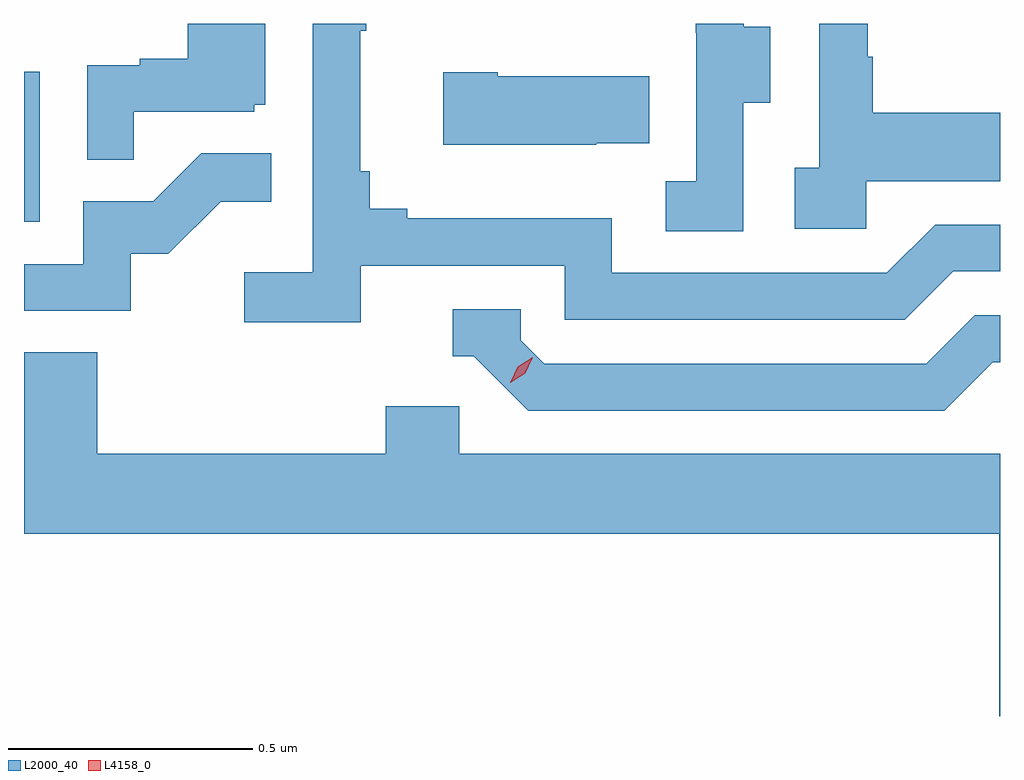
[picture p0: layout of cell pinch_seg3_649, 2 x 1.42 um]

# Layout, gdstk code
import gdstk
lib = gdstk.Library(unit=1e-6, precision=1e-09)
def R(c, l, rs):  # rectangles x0, y0, x1, y1
    for r in rs: c.add(gdstk.rectangle(r[:2], r[2:], *l))
def P(c, l, *ps):  # polygons
    for p in ps: c.add(gdstk.Polygon(p, *l))
L2000_40 = (2000, 40)
L4158_0 = (4158, 0)

pinch_seg3_649 = lib.new_cell('pinch_seg3_649')
R(pinch_seg3_649, L2000_40, [(1038.134,669.588,1038.166,669.895)])
P(pinch_seg3_649, L2000_40, [(1039.86,669.671),(1040.134,669.671),(1040.134,669.811),(1039.873,669.811),(1039.873,669.926),(1039.863,669.926),(1039.863,669.994),(1039.764,669.994),(1039.764,669.698),(1039.713,669.698),(1039.713,669.573),(1039.86,669.573)],
  [(1038.359,669.813),(1038.606,669.813),(1038.606,669.828),(1038.628,669.828),(1038.628,669.994),(1038.47,669.994),(1038.47,669.922),(1038.371,669.922),(1038.371,669.909),(1038.264,669.909),(1038.264,669.715),(1038.359,669.715)],
  [(1038.824,669.498),(1039.242,669.498),(1039.242,669.387),(1039.939,669.387),(1040.038,669.486),(1040.134,669.486),(1040.134,669.582),(1040.001,669.582),(1039.902,669.483),(1039.338,669.483),(1039.338,669.595),(1038.919,669.595),(1038.919,669.614),(1038.842,669.614),(1038.842,669.691),(1038.823,669.691),(1038.823,669.979),(1038.835,669.979),(1038.835,669.994),(1038.726,669.994),(1038.726,669.484),(1038.585,669.484),(1038.585,669.382),(1038.824,669.382)],
  [(1039.608,669.832),(1039.663,669.832),(1039.663,669.987),(1039.609,669.987),(1039.609,669.994),(1039.511,669.994),(1039.511,669.975),(1039.512,669.975),(1039.512,669.671),(1039.449,669.671),(1039.449,669.568),(1039.608,669.568)],
  [(1039.307,669.749),(1039.415,669.749),(1039.415,669.886),(1039.105,669.886),(1039.105,669.894),(1038.993,669.894),(1038.993,669.746),(1039.307,669.746)],
  [(1038.353,669.522),(1038.43,669.522),(1038.537,669.629),(1038.641,669.629),(1038.641,669.728),(1038.497,669.728),(1038.399,669.63),(1038.255,669.63),(1038.255,669.501),(1038.134,669.501),(1038.134,669.405),(1038.353,669.405)],
  [(1040.119,669.3),(1040.134,669.3),(1040.134,669.396),(1040.082,669.396),(1039.983,669.297),(1039.2,669.297),(1039.152,669.345),(1039.152,669.408),(1039.013,669.408),(1039.013,669.312),(1039.056,669.312),(1039.167,669.201),(1040.02,669.201)],
  [(1040.134,669.112),(1039.026,669.112),(1039.026,669.21),(1038.875,669.21),(1038.875,669.112),(1038.284,669.112),(1038.284,669.32),(1038.134,669.32),(1038.134,668.948),(1040.132,668.948),(1040.132,668.574),(1040.134,668.574)])
P(pinch_seg3_649, L4158_0, [(1039.13,669.258),(1039.13,669.258),(1039.146,669.291),(1039.177,669.31),(1039.177,669.31),(1039.177,669.31),(1039.161,669.277),(1039.13,669.258)])

lib.write_gds('pinch_seg3_649.gds')
